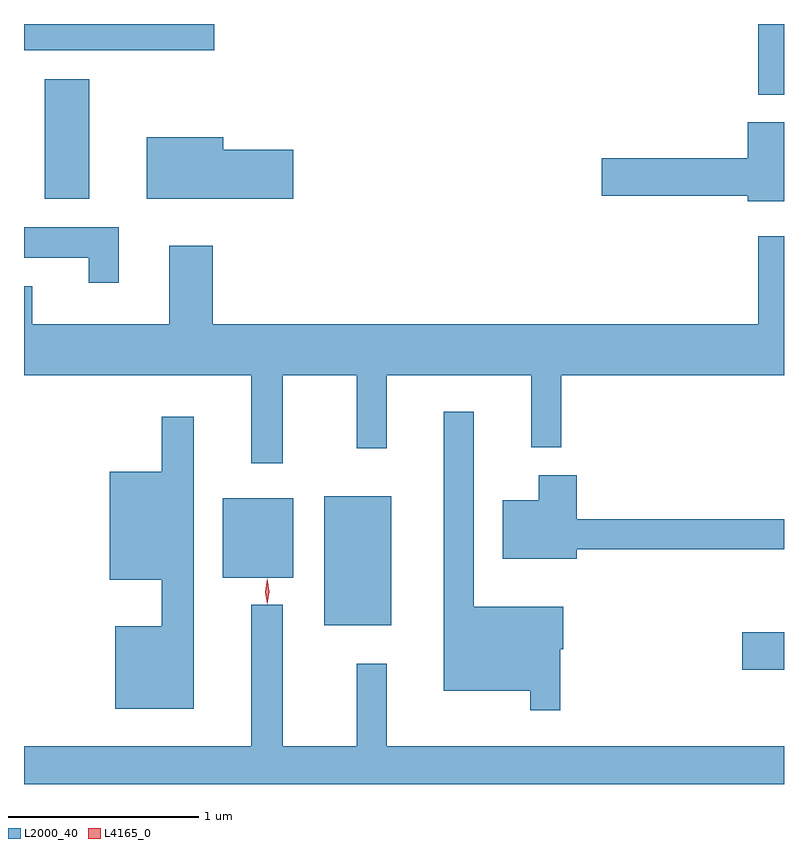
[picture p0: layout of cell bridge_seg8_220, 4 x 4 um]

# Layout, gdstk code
import gdstk
lib = gdstk.Library(unit=1e-6, precision=1e-09)
def R(c, l, rs):  # rectangles x0, y0, x1, y1
    for r in rs: c.add(gdstk.rectangle(r[:2], r[2:], *l))
def P(c, l, *ps):  # polygons
    for p in ps: c.add(gdstk.Polygon(p, *l))
L2000_40 = (2000, 40)
L4165_0 = (4165, 0)

bridge_seg8_220 = lib.new_cell('bridge_seg8_220')
R(bridge_seg8_220, L2000_40, [(1123.246,1910.346,1123.466,1910.544), (1121.046,1910.581,1121.399,1911.259), (1120.511,1910.831,1120.884,1911.249), (1119.576,1912.826,1119.809,1913.454), (1123.331,1913.373,1123.466,1913.745), (1119.466,1913.606,1120.468,1913.745)])
P(bridge_seg8_220, L2000_40, [(1123.466,1913.229),(1123.276,1913.229),(1123.276,1913.039),(1122.506,1913.039),(1122.506,1912.841),(1123.276,1912.841),(1123.276,1912.811),(1123.466,1912.811)],
  [(1120.884,1913.084),(1120.514,1913.084),(1120.514,1913.149),(1120.111,1913.149),(1120.111,1912.826),(1120.884,1912.826)],
  [(1119.964,1912.674),(1119.466,1912.674),(1119.466,1912.516),(1119.806,1912.516),(1119.806,1912.383),(1119.964,1912.383)],
  [(1120.829,1911.896),(1121.216,1911.896),(1121.216,1911.513),(1121.374,1911.513),(1121.374,1911.896),(1122.136,1911.896),(1122.136,1911.518),(1122.294,1911.518),(1122.294,1911.896),(1123.466,1911.896),(1123.466,1912.628),(1123.331,1912.628),(1123.331,1912.164),(1120.459,1912.164),(1120.459,1912.579),(1120.231,1912.579),(1120.231,1912.164),(1119.509,1912.164),(1119.509,1912.364),(1119.466,1912.364),(1119.466,1911.896),(1120.661,1911.896),(1120.661,1911.433),(1120.829,1911.433)],
  [(1122.289,1910.455),(1122.304,1910.455),(1122.304,1910.679),(1121.834,1910.679),(1121.834,1911.703),(1121.676,1911.703),(1121.676,1910.236),(1122.131,1910.236),(1122.131,1910.133),(1122.289,1910.133)],
  [(1120.359,1911.678),(1120.191,1911.678),(1120.191,1911.389),(1119.916,1911.389),(1119.916,1910.821),(1120.191,1910.821),(1120.191,1910.574),(1119.946,1910.574),(1119.946,1910.141),(1120.359,1910.141)],
  [(1122.374,1910.981),(1123.466,1910.981),(1123.466,1911.139),(1122.374,1911.139),(1122.374,1911.369),(1122.176,1911.369),(1122.176,1911.239),(1121.986,1911.239),(1121.986,1910.931),(1122.374,1910.931)],
  [(1123.466,1909.944),(1121.374,1909.944),(1121.374,1910.378),(1121.216,1910.378),(1121.216,1909.944),(1120.829,1909.944),(1120.829,1910.688),(1120.661,1910.688),(1120.661,1909.944),(1119.466,1909.944),(1119.466,1909.745),(1123.466,1909.745)])
P(bridge_seg8_220, L4165_0, [(1120.745,1910.693),(1120.736,1910.757),(1120.745,1910.821),(1120.746,1910.822),(1120.746,1910.821),(1120.756,1910.757),(1120.746,1910.693),(1120.746,1910.693)],
  [(1120.746,1910.689),(1120.745,1910.69),(1120.736,1910.758),(1120.745,1910.826),(1120.746,1910.826),(1120.746,1910.826),(1120.756,1910.758),(1120.746,1910.69)])

lib.write_gds('bridge_seg8_220.gds')
